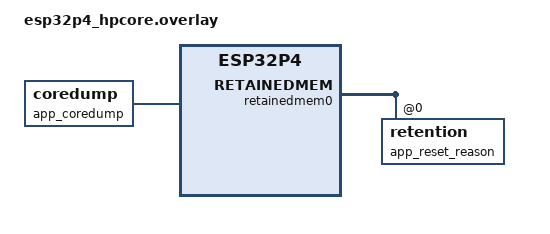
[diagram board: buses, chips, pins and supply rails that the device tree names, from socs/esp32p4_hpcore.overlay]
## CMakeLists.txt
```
cmake_minimum_required(VERSION 3.20.0)

# Default to the Raspberry Pi Camera v2, but let -DSHIELD=... or
# `west build --shield` pick a different camera (e.g. arducam_tof_camera).
# Must precede find_package(Zephyr).
if(NOT DEFINED SHIELD)
  set(SHIELD raspberry_pi_camera_module_2)
endif()

find_package(Zephyr REQUIRED HINTS $ENV{ZEPHYR_BASE})

project(data_collection)

# Shared application code (see applications/common/).
include(${CMAKE_CURRENT_LIST_DIR}/../common/build_id/build_id.cmake)
include(${CMAKE_CURRENT_LIST_DIR}/../common/watchdog/watchdog.cmake)
include(${CMAKE_CURRENT_LIST_DIR}/../common/img_confirm/img_confirm.cmake)

# We always want colored gcc output
zephyr_compile_options(-fdiagnostics-color=always)

target_sources(app PRIVATE src/main.c)

target_sources_ifdef(CONFIG_APP_CAM_MGMT app PRIVATE src/cam_mgmt.c)
```

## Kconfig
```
mainmenu "Application options"

config APP_CAM_MGMT
	bool "Camera SMP management group"
	depends on MCUMGR && VIDEO
	default y
	help
	  Register a custom MCUmgr group (id 0x1000) on the transports MCUmgr
	  already serves, letting an SMP client query the camera, capture a
	  frame and pull it back in chunks. Wire contract: see "SMP camera
	  group" in the application README.

rsource "../common/build_id/Kconfig"
rsource "../common/watchdog/Kconfig"
rsource "../common/img_confirm/Kconfig"

source "Kconfig.zephyr"
```

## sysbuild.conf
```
# Revert-capable OTA.
#
# This must be set explicitly. soc/espressif/Kconfig.sysbuild overrides the
# generic sysbuild default with "default MCUBOOT_MODE_OVERWRITE_ONLY if
# SOC_FAMILY_ESPRESSIF_ESP32", so every ESP32-family board silently gets
# overwrite-only, where the uploaded image replaces slot0 permanently and
# "mcumgr image test" is indistinguishable from "image confirm". A bad image
# then bricks the board until someone reflashes it over USB - unacceptable for
# a device whose whole point is being managed over the network.
#
# swap-using-move keeps the running image in slot1, so an image that is marked
# test-only and never confirmed is reverted by MCUboot on the next reset. It
# needs no scratch partition.
SB_CONFIG_MCUBOOT_MODE_SWAP_USING_MOVE=y
```

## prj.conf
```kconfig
# Application
CONFIG_MAIN_STACK_SIZE=2560
# 4096 for the hawkBit autohandler, which runs its HTTP buffers on this stack.
CONFIG_SYSTEM_WORKQUEUE_STACK_SIZE=4096
CONFIG_SHELL=y
CONFIG_REBOOT=y
CONFIG_LOG=y

# Networking: Ethernet (RMII EMAC) + DHCPv4
CONFIG_NETWORKING=y
CONFIG_NET_IPV4=y
CONFIG_NET_UDP=y
CONFIG_NET_DHCPV4=y
CONFIG_NET_L2_ETHERNET=y
CONFIG_ETH_DRIVER=y
CONFIG_ETH_ESP32=y
CONFIG_NET_SOCKETS=y
CONFIG_NET_MGMT=y
CONFIG_NET_MGMT_EVENT=y
CONFIG_NET_CONFIG_SETTINGS=y
CONFIG_NET_CONFIG_NEED_IPV4=y

# Camera: IMX219 over MIPI CSI-2. Frames are large RAW10 (~2.5 MB at
# 1640x1232), so video buffers are drawn from PSRAM via the shared multi-heap
# (SMH attribute 2 = external) and aligned to the 64-byte D-cache line.
CONFIG_VIDEO=y
CONFIG_VIDEO_ESP32_CSI=y
# Use the workspace's forked IMX219 driver, not Zephyr's in-tree one: the
# in-tree PLL table makes the sensor transmit at ~400 Mbps/lane while
# advertising a 456 MHz (912 Mbps) link frequency. Both bind "sony,imx219", so
# the in-tree one must be turned off explicitly.
CONFIG_VIDEO_IMX219=n
CONFIG_VIDEO_IMX219_OOT=y
CONFIG_VIDEO_SHELL=y
CONFIG_VIDEO_BUFFER_POOL_NUM_MAX=2
CONFIG_VIDEO_BUFFER_POOL_ALIGN=64
CONFIG_VIDEO_BUFFER_USE_SHARED_MULTI_HEAP=y
CONFIG_VIDEO_BUFFER_SMH_ATTRIBUTE=2
CONFIG_ESP_SPIRAM=y
CONFIG_ESP_SPIRAM_HEAP_SIZE=6291456

# MCUmgr: SMP over UDP for remote OS management (reboot / echo / taskstat) and
# image upgrade. The image group needs the MCUboot bootloader, so this app must
# be built with --sysbuild; a plain build still compiles and runs but has no
# upgrade path. CONFIG_BOOTLOADER_MCUBOOT is not set here - sysbuild propagates
# it to this image from SB_CONFIG_BOOTLOADER_MCUBOOT.
CONFIG_NET_BUF=y
CONFIG_ZCBOR=y
CONFIG_CRC=y
CONFIG_MCUMGR=y
CONFIG_MCUMGR_GRP_OS=y
CONFIG_MCUMGR_TRANSPORT_UDP=y
CONFIG_MCUMGR_TRANSPORT_UDP_IPV4=y

# Image upgrade: slot management for the MCUmgr image group.
CONFIG_FLASH=y
CONFIG_FLASH_MAP=y
CONFIG_STREAM_FLASH=y
CONFIG_IMG_MANAGER=y
CONFIG_IMG_ERASE_PROGRESSIVELY=y
CONFIG_MCUMGR_GRP_IMG=y

# Stall detection. The app is event driven -- main() returns after bringing the
# network and camera up -- so there is no superloop to feed a long-lived
# channel from. Coverage is instead a channel around each bounded operation
# that can wedge: boot, and every capture. See applications/common/watchdog/.
#
# Both supported boards alias the TIMG MWDT as watchdog0, so TASK_WDT_HW_FALLBACK
# has real hardware behind it: the kernel timer catches a stalled task, and the
# SoC resets even if the kernel itself stops running. That second case is the
# one that matters here -- rosterloh/zephyr-drivers#43 has the CSI receiver
# taking the whole system quiet, with no ISR, workqueue or log processor left.
CONFIG_APP_WATCHDOG=y
CONFIG_TASK_WDT_HW_FALLBACK=y

# Coredump to the `coredump` flash partition, so a dump survives the reboot
# that follows it. Both boards inherit partitions_0x2000_default_16M.dtsi,
# which already carries `coredump_partition` (4 KB at 0xfff000) -- no DTS
# change needed. Read it back on the next boot over the shell:
#
#   coredump find    # is one stored?
#   coredump print   # emit it as #CD: hex lines
#   coredump erase   # free the partition for the next one
#
# Console (LOGGING) is the alternative and loses the dump if nobody is
# attached when the board reboots, which for a headless box is most of the
# time. LOGGING_UDP needs a peer address fixed at build time that cannot be
# committed; pass it with --extra-conf for a one-off headless capture.
CONFIG_DEBUG_COREDUMP=y
CONFIG_DEBUG_COREDUMP_BACKEND_FLASH_PARTITION=y
CONFIG_DEBUG_COREDUMP_SHELL=y

# MEMORY_DUMP_MIN, not the LINKER_RAM default: the partition is 4 KB and this
# board's RAM region is orders of magnitude larger. MIN dumps the faulting
# thread's struct and stack, which is what a backtrace needs.
#
# MIN turns THREAD_STACK_TOP on by default, but its limit defaults to -1 --
# unbounded, i.e. stack pointer to end of region. Bounded here so the dump
# cannot overrun the sector: 2 KB of stack plus the thread struct, register
# block and header leaves comfortable headroom in 4 KB. A truncated dump is
# not silent -- the backend records it, retrievable with `coredump error get`.
CONFIG_DEBUG_COREDUMP_MEMORY_DUMP_MIN=y
CONFIG_DEBUG_COREDUMP_THREAD_STACK_TOP_LIMIT_FOR_CURRENT=2048

# hawkBit OTA (fleet updates from raptor). See "OTA" in the README.
#
# The autohandler polls on the system workqueue at the server's interval
# (CONFIG_HAWKBIT_POLL_INTERVAL until the server says otherwise). It only
# starts after the health check in main(): hawkBit will not probe an
# unconfirmed image, and HAWKBIT_CONFIRM_IMG_ON_INIT would confirm one before
# the app had shown it works. Confirmation is applications/common/img_confirm.
#
# Server, port and DDI token are set at runtime (`hawkbit set addr|port|
# ddi_token`) and persisted in settings; nothing site-specific is committed.
# The address must be an IP literal: there is no DNS resolver.
CONFIG_HAWKBIT=y
CONFIG_HAWKBIT_CONFIRM_IMG_ON_INIT=n
CONFIG_HAWKBIT_SET_SETTINGS_RUNTIME=y
CONFIG_HAWKBIT_SHELL=y
CONFIG_HAWKBIT_DDI_TARGET_SECURITY=y
CONFIG_HAWKBIT_HWINFO_DEVICE_ID=y
CONFIG_HWINFO=y
CONFIG_NET_TCP=y
CONFIG_HTTP_CLIENT=y
CONFIG_JSON_LIBRARY=y
CONFIG_SMF=y
CONFIG_SMF_ANCESTOR_SUPPORT=y

# Resume an interrupted download from the last saved offset (HTTP Range)
# instead of restarting. Progress is a settings record, saved every 5 % --
# 20 writes per image, not one per chunk (interval 0), to spare the flash.
CONFIG_HAWKBIT_SAVE_PROGRESS=y
CONFIG_HAWKBIT_SAVE_PROGRESS_INTERVAL=5
CONFIG_STREAM_FLASH_PROGRESS=y
CONFIG_SETTINGS=y
CONFIG_ZMS=y
```

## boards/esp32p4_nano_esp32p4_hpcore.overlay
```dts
/*
 * Copyright (c) 2026 Richard Osterloh
 * SPDX-License-Identifier: Apache-2.0
 *
 * IMX219 (Raspberry Pi Camera v2) over MIPI CSI-2 on the Waveshare
 * ESP32-P4-Nano. Mirrors the upstream raspberry_pi_camera_module_2 shield.
 *
 * ┌─ BOARD WIRING TO CONFIRM AGAINST THE WAVESHARE SCHEMATIC ──────────────┐
 * │ - Sensor I2C (SCCB): assumed &i2c0 (the bus enabled on the board). If   │
 * │   the CSI FPC routes SCCB to a different bus, move the imx219 node.     │
 * │ - XCLK 24 MHz: the IMX219 needs an external master clock. The RPi cam   │
 * │   module has no oscillator, so the P4 must drive 24 MHz onto the CSI    │
 * │   connector clock pin (e.g. via LEDC/CLK_OUT). The fixed-clock below is │
 * │   informational only (the sensor driver reads its frequency for timing);│
 * │   generating the actual clock is a separate hardware bring-up step.     │
 * │ - Sensor reset/XSHUTDOWN GPIO and the 2.5 V D-PHY LDO rail may also need │
 * │   asserting before probe (see the board &ldo node).                     │
 * └─────────────────────────────────────────────────────────────────────────┘
 */

#include <zephyr/dt-bindings/video/video-interfaces.h>

/ {
	imx219_input_clock: imx219-input-clock {
		compatible = "fixed-clock";
		clock-frequency = <24000000>;
		#clock-cells = <0>;
	};

	chosen {
		zephyr,camera = &mipi_csi;
	};
};

&mipi_csi {
	status = "okay";

	port {
		csi_ep_in: endpoint {
			remote-endpoint-label = "imx219_ep_out";
			bus-type = <VIDEO_BUS_TYPE_CSI2_DPHY>;
			data-lanes = <1 2>;
		};
	};
};

&i2c0 {
	imx219: imx219@10 {
		compatible = "sony,imx219";
		reg = <0x10>;
		clocks = <&imx219_input_clock>;

		port {
			imx219_ep_out: endpoint {
				remote-endpoint-label = "csi_ep_in";
				bus-type = <VIDEO_BUS_TYPE_CSI2_DPHY>;
				data-lanes = <1 2>;
			};
		};
	};
};
```

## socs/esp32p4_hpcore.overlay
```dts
/* Reset-reason record (applications/common/reset_reason) at the start of the
 * SoC's retained LP SRAM, which software and watchdog resets leave intact.
 */
&retainedmem0 {
	#address-cells = <1>;
	#size-cells = <1>;

	app_reset_reason: retention@0 {
		compatible = "zephyr,retention";
		reg = <0x0 0x40>;
		prefix = [52 53 54 52];
		checksum = <2>;
	};
};

/* Coredump pseudo-device: applications/common/build_id registers the build-ID
 * note with it at boot, so every dump names its ELF.
 */
/ {
	app_coredump: app-coredump {
		compatible = "zephyr,coredump";
		coredump-type = "COREDUMP_TYPE_MEMCPY";
	};
};
```

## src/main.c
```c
/*
 * Copyright (c) 2026 Richard Osterloh
 * SPDX-License-Identifier: Apache-2.0
 */

#include <zephyr/dfu/mcuboot.h>
#include <zephyr/kernel.h>
#include <zephyr/logging/log.h>
#include <zephyr/net/net_if.h>
#include <zephyr/net/net_mgmt.h>
#include <zephyr/net/net_event.h>
#include <zephyr/mgmt/hawkbit/hawkbit.h>
#include <zephyr/mgmt/hawkbit/autohandler.h>

#include "app_img_confirm.h"
#include "app_watchdog.h"
#include "cam_mgmt.h"

LOG_MODULE_REGISTER(main, LOG_LEVEL_INF);

/* Generous: DHCPv4 and the camera's bring-up both sit inside this window, and
 * a boot that is merely slow must not be mistaken for one that is stuck. */
#define BOOT_WDT_TIMEOUT_MS 60000

/* Under BOOT_WDT_TIMEOUT_MS. NET_CONFIG_NEED_IPV4 already waited for the lease
 * before main(), so this only covers a slow DHCP server. */
#define IPV4_WAIT_TIMEOUT K_SECONDS(30)

static K_SEM_DEFINE(ipv4_up, 0, 1);

static struct net_mgmt_event_callback ipv4_cb;

static void on_ipv4_addr_add(struct net_mgmt_event_callback *cb, uint64_t mgmt_event,
			     struct net_if *iface)
{
	if (mgmt_event != NET_EVENT_IPV4_ADDR_ADD) {
		return;
	}

	for (int i = 0; i < NET_IF_MAX_IPV4_ADDR; i++) {
		struct net_if_addr *if_addr = &iface->config.ip.ipv4->unicast[i].ipv4;
		char buf[NET_IPV4_ADDR_LEN];

		if (!if_addr->is_used || if_addr->addr_type != NET_ADDR_DHCP) {
			continue;
		}

		LOG_INF("IPv4 address: %s",
			net_addr_ntop(AF_INET, &if_addr->address.in_addr, buf, sizeof(buf)));
		k_sem_give(&ipv4_up);
	}
}

static bool ipv4_ready(void)
{
	return net_if_ipv4_get_global_addr(net_if_get_default(), NET_ADDR_PREFERRED) != NULL ||
	       k_sem_take(&ipv4_up, IPV4_WAIT_TIMEOUT) == 0;
}

/* After the health check, and only on a confirmed image: the autohandler
 * reboots an unconfirmed one, which would cut the img_confirm deadline short.
 * A confirmed image starts it even with a broken camera, so OTA can fix it. */
static void start_hawkbit(void)
{
#if defined(CONFIG_HAWKBIT)
	if (!boot_is_img_confirmed()) {
		LOG_WRN("Image not confirmed; hawkBit not started");
		return;
	}

	int ret = hawkbit_init();

	if (ret < 0) {
		LOG_ERR("hawkBit init failed (%d)", ret);
		return;
	}

	hawkbit_autohandler(true);
#endif
}

int main(void)
{
	const struct device *cam = DEVICE_DT_GET(DT_CHOSEN(zephyr_camera));
	int wdt_channel;

	LOG_INF("data_collection starting (SMP/UDP management ready)");

	/* Cover the boot path. Everything below can block on hardware -- the
	 * camera's I2C bring-up, and the first capture through a CSI receiver
	 * that is known to wedge (rosterloh/zephyr-drivers#43). The channel is
	 * deleted before main() returns rather than left registered: from that
	 * point the app is event driven, there is no loop left to feed from, and
	 * a channel nobody feeds is a reboot timer. Steady-state coverage is
	 * cam_mgmt_capture()'s own channel, registered per capture. */
	app_watchdog_init();
	wdt_channel = app_watchdog_register("boot", BOOT_WDT_TIMEOUT_MS);

	/* Healthy = an IPv4 lease and a first frame. */
	app_img_confirm_arm();

	net_mgmt_init_event_callback(&ipv4_cb, on_ipv4_addr_add, NET_EVENT_IPV4_ADDR_ADD);
	net_mgmt_add_event_callback(&ipv4_cb);

	app_watchdog_feed(wdt_channel);

	if (!device_is_ready(cam)) {
		LOG_ERR("Camera %s not ready", cam->name);
		goto out;
	}

#if defined(CONFIG_APP_CAM_MGMT)
	if (cam_mgmt_capture(cam) != 0) {
		goto out;
	}
	LOG_INF("Camera capture OK; pull it with the SMP camera group (0x1000) or "
		"capture again from the `video` shell");
#endif

	app_watchdog_feed(wdt_channel);
	if (ipv4_ready()) {
		app_img_confirm();
	} else {
		LOG_ERR("No IPv4 lease");
	}

out:
	app_watchdog_unregister(wdt_channel);
	start_hawkbit();

	return 0;
}
```

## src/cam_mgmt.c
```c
/*
 * Copyright (c) 2026 Richard Osterloh
 * SPDX-License-Identifier: Apache-2.0
 */

/*
 * Custom MCUmgr (SMP) management group for the camera, so a host can drive
 * capture over the same SMP/UDP transport this app already uses for OTA
 * instead of only the boot-time capture and the interactive `video` shell.
 * Commands: INFO (read) / CAPTURE (write) / READ (read).
 * Wire contract: see "SMP camera group" in README.md.
 */

#include <zephyr/kernel.h>
#include <zephyr/logging/log.h>
#include <zephyr/video/video.h>
#include <zephyr/video/formats.h>
#include <zephyr/mgmt/mcumgr/mgmt/mgmt.h>
#include <zephyr/mgmt/mcumgr/mgmt/handlers.h>
#include <zephyr/mgmt/mcumgr/smp/smp.h>
#include <zcbor_common.h>
#include <zcbor_encode.h>
#include <zcbor_decode.h>
#include <mgmt/mcumgr/util/zcbor_bulk.h>

#include "app_watchdog.h"
#include "cam_mgmt.h"

LOG_MODULE_REGISTER(cam_mgmt, LOG_LEVEL_INF);

/* Vendor/custom group ids start at MGMT_GROUP_ID_PERUSER (64), and the
 * Zephyr-specific groups count *down* from there, so anything comfortably above
 * 64 is safe. 0x1000 keeps that distance and matches the convention used by
 * other out-of-tree SMP groups. */
#define CAM_MGMT_GROUP_ID      0x1000
#define CAM_MGMT_GROUP_VERSION 1

#define CAM_MGMT_CMD_INFO    0
#define CAM_MGMT_CMD_CAPTURE 1
#define CAM_MGMT_CMD_READ    2

/* Largest chunk a single READ returns. The binding limit is the buffer the
 * response is encoded into, CONFIG_MCUMGR_TRANSPORT_NETBUF_SIZE (2048 when
 * MCUMGR_TRANSPORT_UDP is set, 384 otherwise); the datagram then has to fit
 * CONFIG_MCUMGR_TRANSPORT_UDP_MTU (1500). 1024 plus the 8-byte SMP header and
 * the CBOR map around the byte string lands near 1100 B, inside both, and is a
 * round number for clients to page with. Raise it against NETBUF_SIZE *and*
 * the MTU, not just one of them. */
#define CAM_MGMT_READ_MAX 1024

#define CAPTURE_NBUFS 2

/* Watchdog window for one capture. The longest bounded wait inside is the
 * 2 s video_dequeue(); the rest is sensor register programming over I2C and
 * the pool allocation. 10 s leaves room for a slow sensor without letting a
 * wedged one sit indefinitely.
 *
 * This channel is what covers the steady state: main() has returned by the
 * time an SMP client drives a capture, so nothing else is registered. A
 * capture that never completes never reaches the delete below, and the
 * timeout names "capture" in the log before rebooting. */
#define CAPTURE_WDT_TIMEOUT_MS 10000

/* The app's PSRAM budget, expressed as a resolution ceiling rather than a
 * format. A sensor advertising a stepwise range -- the IMX219 goes to
 * 3280x2464 -- would otherwise have us ask for an 8 MB frame when the pool
 * cannot hold two of them.
 *
 * ponytail: assumes the ceiling lands on the sensor's width/height step (it
 * does for the IMX219's step of 4). If a sensor with a coarser step appears,
 * round the clamped value down to cap->width_min + n * cap->width_step.
 */
#define CAPTURE_MAX_WIDTH  1640
#define CAPTURE_MAX_HEIGHT 1232

/* The negotiated format, filled in by the first capture. INFO and CAPTURE
 * report it so a client sees what the camera actually agreed to rather than a
 * compile-time guess -- the two differ as soon as the shield changes.
 */
static struct video_format frame_fmt;

/* Buffer ownership: the captured frame stays checked out of the video buffer
 * pool until the next CAPTURE. A frame is ~2.5 MB of PSRAM, so READ serves it
 * in place rather than copying it into a second buffer. The pool only holds
 * CONFIG_VIDEO_BUFFER_POOL_NUM_MAX buffers and the CSI driver needs
 * CAPTURE_NBUFS of them to stream, which is why the retained frame is released
 * at the top of the next capture rather than kept alongside it. `frame_lock`
 * stops a READ on the SMP thread from touching a buffer that the boot-time
 * capture on the main thread is releasing. */
static struct video_buffer *frame_vbuf;
static uint32_t frame_seq;
K_MUTEX_DEFINE(frame_lock);

/* Choose the advertised format with the highest bit depth that fits the
 * ceiling. Depth first because this is a data-collection app: a sensor offering
 * both RAW8 and RAW10 should give us RAW10. Sizes are clamped rather than
 * rejected, so a stepwise sensor lands on the largest frame we can hold while a
 * sensor with one fixed small size (the ToF module's 240x180) is taken as-is.
 */
static int cam_pick_format(const struct device *cam, struct video_format *fmt)
{
	struct video_caps caps = {.type = VIDEO_BUF_TYPE_OUTPUT};
	unsigned int best_bpp = 0;
	int ret;

	ret = video_get_caps(cam, &caps);
	if (ret < 0) {
		LOG_ERR("Failed to get caps (%d)", ret);
		return ret;
	}

	for (int i = 0; caps.format_caps[i].pixelformat != 0; i++) {
		const struct video_format_cap *cap = &caps.format_caps[i];
		unsigned int bpp = video_bits_per_pixel(cap->pixelformat);

		if (bpp <= best_bpp) {
			continue;
		}

		fmt->pixelformat = cap->pixelformat;
		fmt->width = MIN(cap->width_max, CAPTURE_MAX_WIDTH);
		fmt->height = MIN(cap->height_max, CAPTURE_MAX_HEIGHT);
		best_bpp = bpp;
	}

	if (best_bpp == 0) {
		LOG_ERR("Camera advertises no usable format");
		return -ENOTSUP;
	}

	fmt->type = VIDEO_BUF_TYPE_OUTPUT;

	return 0;
}

int cam_mgmt_capture(const struct device *cam)
{
	struct video_format fmt;
	struct video_buffer *vbuf = NULL;
	struct video_buffer *drained;
	int wdt_channel;
	int ret;

	/* Registered before the lock, not after: a capture already wedged while
	 * holding frame_lock would otherwise park this caller in an unmonitored
	 * K_FOREVER wait. */
	wdt_channel = app_watchdog_register("capture", CAPTURE_WDT_TIMEOUT_MS);

	k_mutex_lock(&frame_lock, K_FOREVER);

	if (frame_vbuf != NULL) {
		video_buffer_release(frame_vbuf);
		frame_vbuf = NULL;
	}

	ret = cam_pick_format(cam, &fmt);
	if (ret < 0) {
		goto out;
	}

	ret = video_set_format(cam, &fmt);
	if (ret < 0) {
		LOG_ERR("Failed to set format (%d)", ret);
		goto out;
	}

	ret = video_get_format(cam, &fmt);
	if (ret < 0) {
		goto out;
	}
	LOG_INF("Capturing %ux%u, pitch %u, %u bytes/frame", fmt.width, fmt.height, fmt.pitch,
		fmt.pitch * fmt.height);
	frame_fmt = fmt;

	for (int i = 0; i < CAPTURE_NBUFS; i++) {
		/* Round the allocation up to a whole D-cache line. The CSI driver
		 * invalidates the buffer around each DMA, and an invalidate that ends
		 * mid-line discards the dirty half of that line belonging to whatever
		 * the heap placed next -- in practice the following buffer's chunk
		 * header, which then faults sys_heap_free(). POOL_ALIGN only aligns the
		 * start; video_buffer_aligned_alloc() passes the size through as-is.
		 */
		vbuf = video_buffer_aligned_alloc(
			ROUND_UP(fmt.pitch * fmt.height, CONFIG_DCACHE_LINE_SIZE),
			CONFIG_VIDEO_BUFFER_POOL_ALIGN, K_NO_WAIT);
		if (vbuf == NULL) {
			LOG_ERR("Failed to allocate video buffer %d", i);
			ret = -ENOMEM;
			goto drain;
		}
		vbuf->type = VIDEO_BUF_TYPE_OUTPUT;
		ret = video_enqueue(cam, vbuf);
		if (ret < 0) {
			LOG_ERR("Failed to enqueue buffer %d (%d)", i, ret);
			video_buffer_release(vbuf);
			goto drain;
		}
	}

	ret = video_stream_start(cam, VIDEO_BUF_TYPE_OUTPUT);
	if (ret < 0) {
		LOG_ERR("Failed to start stream (%d)", ret);
		goto drain;
	}

	ret = video_dequeue(cam, &vbuf, K_SECONDS(2));
	if (ret < 0) {
		LOG_ERR("Failed to dequeue frame (%d)", ret);
		goto drain;
	}

	frame_vbuf = vbuf;
	frame_seq++;
	LOG_INF("Frame %u captured: %u bytes, first pixels %02x %02x %02x %02x", frame_seq,
		vbuf->bytesused, vbuf->buffer[0], vbuf->buffer[1], vbuf->buffer[2],
		vbuf->buffer[3]);

drain:
	/* video_stream_stop() cancels whatever is still queued into the done queue
	 * (and does so even if the stream never started), so draining it here
	 * covers both the success path and every failure above. Skip the retained
	 * frame by identity: no driver should hand back a buffer we already
	 * dequeued, but releasing it here would serve freed PSRAM to any SMP
	 * client that asks, so don't depend on that. */
	video_stream_stop(cam, VIDEO_BUF_TYPE_OUTPUT);
	while (video_dequeue(cam, &drained, K_NO_WAIT) == 0) {
		if (drained != frame_vbuf) {
			video_buffer_release(drained);
		}
	}
out:
	k_mutex_unlock(&frame_lock);
	app_watchdog_unregister(wdt_channel);
	return ret;
}

/* INFO (read): {} -> {group, cam, fmt, w, h, ready}. The format triple is what
 * the camera negotiated on the most recent CAPTURE, and is zero before the
 * first one. The authoritative frame length is still CAPTURE's `size`, and
 * clients must size their buffer from that. */
static int cam_h_info(struct smp_streamer *ctxt)
{
	const struct device *cam = DEVICE_DT_GET(DT_CHOSEN(zephyr_camera));
	zcbor_state_t *zse = ctxt->writer->zs;
	bool ok;

	/* frame_fmt is written by cam_mgmt_capture() under frame_lock, and the
	 * boot-time capture runs on the main thread while this handler runs on the
	 * SMP thread. Read the triple under the lock or a concurrent capture can
	 * hand back a mixed answer -- the old pixelformat with the new width.
	 */
	k_mutex_lock(&frame_lock, K_FOREVER);
	ok = zcbor_tstr_put_lit(zse, "group") && zcbor_uint32_put(zse, CAM_MGMT_GROUP_VERSION) &&
	     zcbor_tstr_put_lit(zse, "cam") && zcbor_tstr_put_term(zse, cam->name, 32) &&
	     zcbor_tstr_put_lit(zse, "fmt") && zcbor_uint32_put(zse, frame_fmt.pixelformat) &&
	     zcbor_tstr_put_lit(zse, "w") && zcbor_uint32_put(zse, frame_fmt.width) &&
	     zcbor_tstr_put_lit(zse, "h") && zcbor_uint32_put(zse, frame_fmt.height) &&
	     zcbor_tstr_put_lit(zse, "ready") && zcbor_bool_put(zse, device_is_ready(cam));
	k_mutex_unlock(&frame_lock);

	return ok ? MGMT_ERR_EOK : MGMT_ERR_EMSGSIZE;
}

/* CAPTURE (write): {} -> {seq, size, w, h, fmt}. A write because it discards the
 * previously retained frame and drives the sensor. */
static int cam_h_capture(struct smp_streamer *ctxt)
{
	const struct device *cam = DEVICE_DT_GET(DT_CHOSEN(zephyr_camera));
	zcbor_state_t *zse = ctxt->writer->zs;
	bool ok;

	if (cam_mgmt_capture(cam) < 0) {
		return MGMT_ERR_EUNKNOWN;
	}

	k_mutex_lock(&frame_lock, K_FOREVER);
	/* cam_mgmt_capture() drops the lock before returning, so a capture on
	 * another thread can have released our frame and then failed by the time we
	 * get here. Report it gone rather than dereferencing NULL. */
	if (frame_vbuf == NULL) {
		k_mutex_unlock(&frame_lock);
		return MGMT_ERR_ENOENT;
	}

	ok = zcbor_tstr_put_lit(zse, "seq") && zcbor_uint32_put(zse, frame_seq) &&
	     zcbor_tstr_put_lit(zse, "size") && zcbor_uint32_put(zse, frame_vbuf->bytesused) &&
	     zcbor_tstr_put_lit(zse, "w") && zcbor_uint32_put(zse, frame_fmt.width) &&
	     zcbor_tstr_put_lit(zse, "h") && zcbor_uint32_put(zse, frame_fmt.height) &&
	     zcbor_tstr_put_lit(zse, "fmt") && zcbor_uint32_put(zse, frame_fmt.pixelformat);
	k_mutex_unlock(&frame_lock);

	return ok ? MGMT_ERR_EOK : MGMT_ERR_EMSGSIZE;
}

/* READ (read): {seq, off, len} -> {seq, off, data, eof}. Cursor-paged pull of
 * the retained frame; the client repeats with off += len(data) until eof. */
static int cam_h_read(struct smp_streamer *ctxt)
{
	zcbor_state_t *zsd = ctxt->reader->zs;
	zcbor_state_t *zse = ctxt->writer->zs;
	uint32_t seq = 0, off = 0, want = CAM_MGMT_READ_MAX;
	struct zcbor_string data;
	size_t decoded;
	bool ok, eof;
	struct zcbor_map_decode_key_val dk[] = {
		ZCBOR_MAP_DECODE_KEY_DECODER("seq", zcbor_uint32_decode, &seq),
		ZCBOR_MAP_DECODE_KEY_DECODER("off", zcbor_uint32_decode, &off),
		ZCBOR_MAP_DECODE_KEY_DECODER("len", zcbor_uint32_decode, &want),
	};

	if (zcbor_map_decode_bulk(zsd, dk, ARRAY_SIZE(dk), &decoded) != 0) {
		return MGMT_ERR_EINVAL;
	}

	if (want == 0 || want > CAM_MGMT_READ_MAX) {
		want = CAM_MGMT_READ_MAX;
	}

	k_mutex_lock(&frame_lock, K_FOREVER);

	/* Refuse rather than silently serve the wrong frame: the buffer holds
	 * exactly one, and a newer CAPTURE replaces it mid-pull. seq 0 never
	 * matches, so "nothing captured yet" answers the same way. */
	if (frame_vbuf == NULL || seq != frame_seq) {
		k_mutex_unlock(&frame_lock);
		return MGMT_ERR_ENOENT;
	}

	off = MIN(off, frame_vbuf->bytesused);
	want = MIN(want, frame_vbuf->bytesused - off);
	eof = (off + want) >= frame_vbuf->bytesused;
	data.value = frame_vbuf->buffer + off;
	data.len = want;

	ok = zcbor_tstr_put_lit(zse, "seq") && zcbor_uint32_put(zse, seq) &&
	     zcbor_tstr_put_lit(zse, "off") && zcbor_uint32_put(zse, off) &&
	     zcbor_tstr_put_lit(zse, "data") && zcbor_bstr_encode(zse, &data) &&
	     zcbor_tstr_put_lit(zse, "eof") && zcbor_bool_put(zse, eof);

	k_mutex_unlock(&frame_lock);

	return ok ? MGMT_ERR_EOK : MGMT_ERR_EMSGSIZE;
}

static const struct mgmt_handler cam_mgmt_handlers[] = {
	[CAM_MGMT_CMD_INFO] = {cam_h_info, NULL},
	[CAM_MGMT_CMD_CAPTURE] = {NULL, cam_h_capture},
	[CAM_MGMT_CMD_READ] = {cam_h_read, NULL},
};

static struct mgmt_group cam_mgmt_group = {
	.mg_handlers = cam_mgmt_handlers,
	.mg_handlers_count = ARRAY_SIZE(cam_mgmt_handlers),
	.mg_group_id = CAM_MGMT_GROUP_ID,
};

static void cam_mgmt_register(void)
{
	mgmt_register_group(&cam_mgmt_group);
}

MCUMGR_HANDLER_DEFINE(cam_mgmt, cam_mgmt_register);
```

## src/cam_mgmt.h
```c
/*
 * Copyright (c) 2026 Richard Osterloh
 * SPDX-License-Identifier: Apache-2.0
 */

#ifndef APP_CAM_MGMT_H_
#define APP_CAM_MGMT_H_

#include <zephyr/device.h>

/**
 * @brief Capture one frame into the buffer retained for the SMP camera group.
 *
 * Releases the previously retained frame, captures a new one and bumps the
 * sequence number served by the CAPTURE/READ commands.
 *
 * @return 0 on success, negative errno otherwise.
 */
int cam_mgmt_capture(const struct device *cam);

#endif /* APP_CAM_MGMT_H_ */
```
